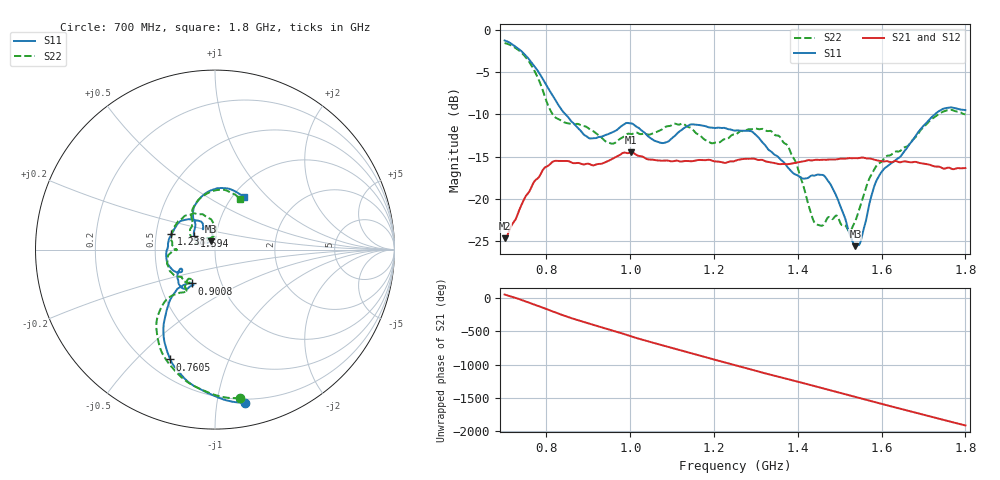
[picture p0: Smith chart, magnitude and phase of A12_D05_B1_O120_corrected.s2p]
! Created with skrf 1.9.0 (http://scikit-rf.org).
# Hz S RI R 50.0
!freq ReS11 ImS11 ReS21 ImS21 ReS12 ImS12 ReS22 ImS22
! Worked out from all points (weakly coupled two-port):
!   1601 points, 700 MHz to 1.8 GHz, reference 50 ohm
!   highest |S21| = -14.52 dB at 1.002 GHz (marker M1); lowest = -24.7 dB at 700.7 MHz (marker M2)
!   lowest |S11| = -25.7 dB at 1.537 GHz (marker M3), VSWR 1.11, Z = 47.6 + j4.5 ohm
!   |S11| at or under -10 dB: 845.7 MHz to 1.727 GHz (880.9 MHz wide, 68.5 % of centre)
!   |S22| runs from -23.9 to -1.5 dB; largest |S21 - S12| = 0.0035
!   S11 on the Smith chart (normalised r, x): 700 MHz: 0.17, -1.20; 760.5 MHz: 0.29, -0.63; 900.8 MHz: 0.72, -0.29; 1.238 GHz: 0.60, +0.11; 1.594 GHz: 0.79, +0.12; 1.8 GHz: 1.13, +0.75
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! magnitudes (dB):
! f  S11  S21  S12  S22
! 700 MHz  -1.2  -24.7  -24.5  -1.5
! 700.7 MHz  -1.2  -24.7  -24.4  -1.5
! 760.5 MHz  -3.6  -19.0  -18.9  -3.9
! 817.6 MHz  -8.0  -15.6  -15.7  -10.2
! 883.6 MHz  -12.1  -15.9  -15.8  -11.3
! 900.8 MHz  -12.8  -15.9  -15.9  -11.7
! 954.4 MHz  -12.2  -15.4  -15.4  -13.5
! 1.002 GHz  -11.1  -14.5  -14.6  -12.3
! 1.067 GHz  -13.3  -15.5  -15.4  -12.0
! 1.145 GHz  -11.2  -15.6  -15.6  -11.6
! 1.238 GHz  -11.8  -15.6  -15.7  -12.6
! 1.25 GHz  -11.9  -15.5  -15.5  -12.4
! 1.357 GHz  -15.3  -15.9  -15.9  -12.7
! 1.395 GHz  -17.2  -15.7  -15.7  -15.7
! 1.434 GHz  -17.3  -15.5  -15.4  -22.1
! 1.478 GHz  -18.3  -15.3  -15.4  -22.3
! 1.537 GHz  -25.7  -15.2  -15.2  -22.6
! 1.55 GHz  -25.0  -15.1  -15.2  -20.7
! 1.594 GHz  -17.3  -15.5  -15.5  -15.8
! 1.617 GHz  -16.0  -15.6  -15.6  -14.9
! 1.734 GHz  -9.7  -16.2  -16.2  -10.0
! 1.8 GHz  -9.5  -16.4  -16.4  -10.0
